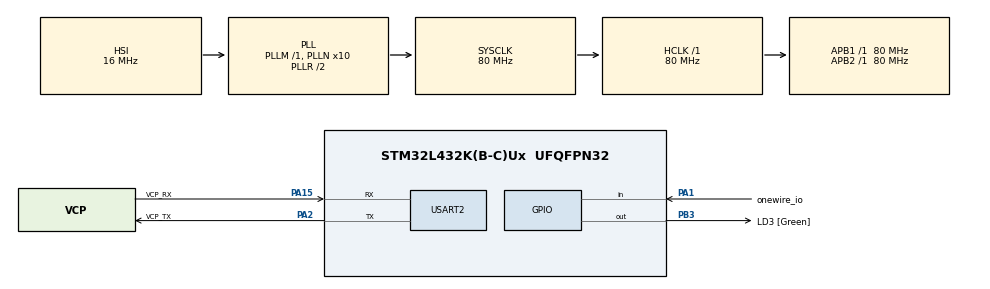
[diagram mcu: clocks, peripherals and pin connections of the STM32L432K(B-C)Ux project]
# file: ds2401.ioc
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Mcu.Family=STM32L4
RCC.MSI_VALUE=4000000
RCC.PLLSourceVirtual=RCC_PLLSOURCE_HSI
PA14\ (JTCK-SWCLK).Mode=Serial_Wire
FREERTOS.Queues01=myQueue01,16,uint16_t,0,Dynamic,NULL,NULL;myQueue02,16,uint32_t,0,Dynamic,NULL,NULL
RCC.CortexFreq_Value=80000000
FREERTOS.Tasks01=defaultTask,24,128,StartDefaultTask,Default,NULL,Dynamic,NULL,NULL;myTask02,8,128,StartTask02,Default,NULL,Dynamic,NULL,NULL;myTask03,8,128,StartTask03,Default,NULL,Dynamic,NULL,NULL;myTask04,8,128,StartTask04,Default,NULL,Dynamic,NULL,NULL
PA0.GPIO_Label=MCO [High speed clock in]
VP_TIM6_VS_ClockSourceINT.Mode=Enable_Timer
PC15-OSC32_OUT\ (PC15).Signal=RCC_OSC32_OUT
PA15\ (JTDI).Signal=USART2_RX
PB3\ (JTDO-TRACESWO).GPIO_Label=LD3 [Green]
PA14\ (JTCK-SWCLK).GPIO_Label=SWCLK
PC15-OSC32_OUT\ (PC15).Mode=LSE-External-Oscillator
RCC.SYSCLKSource=RCC_SYSCLKSOURCE_PLLCLK
ProjectManager.StackSize=0x400
PB3\ (JTDO-TRACESWO).Signal=GPIO_Output
PC14-OSC32_IN\ (PC14).Mode=LSE-External-Oscillator
VP_FREERTOS_VS_CMSIS_V2.Mode=CMSIS_V2
PA14\ (JTCK-SWCLK).Signal=SYS_JTCK-SWCLK
RCC.HSI16_VALUE=16000000
PA15\ (JTDI).Mode=Asynchronous
ProjectManager.TargetToolchain=STM32CubeIDE
RCC.HCLKFreq_Value=80000000
RCC.APB2TimFreq_Value=80000000
RCC.USBFreq_Value=64000000
PA1.Signal=GPIO_Input
RCC.AHBFreq_Value=80000000
RCC.HSE_VALUE=8000000
board=NUCLEO-L432KC
USART2.VirtualMode-Asynchronous=VM_ASYNC
RCC.VCOOutputFreq_Value=160000000
RCC.PLLMUL=RCC_PLLMUL_4
RCC.APB2Freq_Value=80000000
PA13\ (JTMS-SWDIO).GPIO_Label=SWDIO
VP_SYS_VS_tim1.Mode=TIM1
RCC.ADCFreq_Value=64000000
PA0.Mode=HSE-External-Clock-Source-for-LittleOrca
PA1.GPIO_Label=onewire_io
PA15\ (JTDI).GPIO_Label=VCP_RX
Mcu.Name=STM32L432K(B-C)Ux
PA2.Signal=USART2_TX
PA0.Signal=RCC_CK_IN
PA13\ (JTMS-SWDIO).Mode=Serial_Wire
RCC.SYSCLKFreq_VALUE=80000000
Mcu.Package=UFQFPN32
NVIC.TimeBase=TIM1_UP_TIM16_IRQn
PC14-OSC32_IN\ (PC14).Signal=RCC_OSC32_IN
PA2.GPIO_Label=VCP_TX
NVIC.TimeBaseIP=TIM1
ProjectManager.HeapSize=0x200
RCC.HSI_VALUE=16000000
NVIC.TIM1_UP_TIM16_IRQn=true\:0\:0\:false\:false\:true\:false\:false\:true
NVIC.PriorityGroup=NVIC_PRIORITYGROUP_4
RCC.PLLN=10
RCC.APB1TimFreq_Value=80000000
PA2.Mode=Asynchronous
PA13\ (JTMS-SWDIO).Signal=SYS_JTMS-SWDIO
RCC.APB1Freq_Value=80000000
RCC.HSI48_VALUE=48000000

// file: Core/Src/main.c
/* USER CODE BEGIN Header */
/**
  ******************************************************************************
  * @file           : main.c
  * @brief          : Main program body
  ******************************************************************************
  * @attention
  *
  * <h2><center>&copy; Copyright (c) 2021 STMicroelectronics.
  * All rights reserved.</center></h2>
  *
  * This software component is licensed by ST under BSD 3-Clause license,
  * the "License"; You may not use this file except in compliance with the
  * License. You may obtain a copy of the License at:
  *                        opensource.org/licenses/BSD-3-Clause
  *
  ******************************************************************************
  */
/* USER CODE END Header */
#include "main.h"
#include "cmsis_os.h"
#include "tim.h"
#include "usart.h"
#include "gpio.h"

void SystemClock_Config(void);
void MX_FREERTOS_Init(void);

int main(void) {

    /* MCU Configuration--------------------------------------------------------*/

    /* Reset of all peripherals, Initializes the Flash interface and the Systick. */
    HAL_Init();

    /* Configure the system clock */
    SystemClock_Config();

    /* Initialize all configured peripherals */
    MX_GPIO_Init();
    MX_USART2_UART_Init();
    MX_TIM6_Init();
    /* USER CODE BEGIN 2 */

    /*
    void DWT_Delay_us(volatile uint32_t microseconds);
    while(1) {
    	//DWT_Delay_us(500000); 	// 500ms
    	DWT_Delay_us(1000000); 		// 1000ms
    	HAL_GPIO_TogglePin(LD3_GPIO_Port, LD3_Pin);
    }
    */

    /* USER CODE END 2 */

    /* Init scheduler */
    osKernelInitialize();  /* Call init function for freertos objects (in freertos.c) */
    MX_FREERTOS_Init();
    /* Start scheduler */
    osKernelStart();

    /* We should never get here as control is now taken by the scheduler */
    /* Infinite loop */
    while (1) {

    }
}

void SystemClock_Config(void) {
    RCC_OscInitTypeDef RCC_OscInitStruct = {0};
    RCC_ClkInitTypeDef RCC_ClkInitStruct = {0};
    RCC_PeriphCLKInitTypeDef PeriphClkInit = {0};

    /** Initializes the RCC Oscillators according to the specified parameters
    * in the RCC_OscInitTypeDef structure.
    */
    RCC_OscInitStruct.OscillatorType = RCC_OSCILLATORTYPE_HSI;
    RCC_OscInitStruct.HSIState = RCC_HSI_ON;
    RCC_OscInitStruct.HSICalibrationValue = RCC_HSICALIBRATION_DEFAULT;
    RCC_OscInitStruct.PLL.PLLState = RCC_PLL_ON;
    RCC_OscInitStruct.PLL.PLLSource = RCC_PLLSOURCE_HSI;
    RCC_OscInitStruct.PLL.PLLM = 1;
    RCC_OscInitStruct.PLL.PLLN = 10;
    RCC_OscInitStruct.PLL.PLLP = RCC_PLLP_DIV7;
    RCC_OscInitStruct.PLL.PLLQ = RCC_PLLQ_DIV2;
    RCC_OscInitStruct.PLL.PLLR = RCC_PLLR_DIV2;
    if (HAL_RCC_OscConfig(&RCC_OscInitStruct) != HAL_OK) {
        Error_Handler();
    }
    /** Initializes the CPU, AHB and APB buses clocks
    */
    RCC_ClkInitStruct.ClockType = RCC_CLOCKTYPE_HCLK | RCC_CLOCKTYPE_SYSCLK
                                  | RCC_CLOCKTYPE_PCLK1 | RCC_CLOCKTYPE_PCLK2;
    RCC_ClkInitStruct.SYSCLKSource = RCC_SYSCLKSOURCE_PLLCLK;
    RCC_ClkInitStruct.AHBCLKDivider = RCC_SYSCLK_DIV1;
    RCC_ClkInitStruct.APB1CLKDivider = RCC_HCLK_DIV1;
    RCC_ClkInitStruct.APB2CLKDivider = RCC_HCLK_DIV1;

    if (HAL_RCC_ClockConfig(&RCC_ClkInitStruct, FLASH_LATENCY_4) != HAL_OK) {
        Error_Handler();
    }
    PeriphClkInit.PeriphClockSelection = RCC_PERIPHCLK_USART2;
    PeriphClkInit.Usart2ClockSelection = RCC_USART2CLKSOURCE_PCLK1;
    if (HAL_RCCEx_PeriphCLKConfig(&PeriphClkInit) != HAL_OK) {
        Error_Handler();
    }
    /** Configure the main internal regulator output voltage
    */
    if (HAL_PWREx_ControlVoltageScaling(PWR_REGULATOR_VOLTAGE_SCALE1) != HAL_OK) {
        Error_Handler();
    }
}

void HAL_TIM_PeriodElapsedCallback(TIM_HandleTypeDef *htim) {
    if (htim->Instance == TIM1) {
        HAL_IncTick();
    }
}

void Error_Handler(void) {
    __disable_irq();
    while (1) {
    }
}

/************************ (C) COPYRIGHT STMicroelectronics *****END OF FILE****/

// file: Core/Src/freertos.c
/* USER CODE BEGIN Header */
/**
  ******************************************************************************
  * File Name          : freertos.c
  * Description        : Code for freertos applications
  ******************************************************************************
  * @attention
  *
  * <h2><center>&copy; Copyright (c) 2021 STMicroelectronics.
  * All rights reserved.</center></h2>
  *
  * This software component is licensed by ST under Ultimate Liberty license
  * SLA0044, the "License"; You may not use this file except in compliance with
  * the License. You may obtain a copy of the License at:
  *                             www.st.com/SLA0044
  *
  ******************************************************************************
  */
/* USER CODE END Header */

#include "FreeRTOS.h"
#include "task.h"
#include "main.h"
#include "cmsis_os.h"

/* USER CODE BEGIN Includes */
#include <stdio.h>
#include <stdlib.h>
#include <string.h>
#include "usart.h"
/* USER CODE END Includes */

/* USER CODE BEGIN PD */
struct hardSerial_t {
    uint8_t Number[8];
};
uint64_t data = 0;
/* USER CODE END PD */

/* USER CODE BEGIN PM */
#define DS2401_SUCCESS          0
#define DS2401_WRONG_CRC        1
#define DS2401_NO_RESPONSE      2

#define ARR_SIZE(arr) 			(sizeof(arr)/sizeof(arr[0]))
/* USER CODE END PM */

/* USER CODE BEGIN Variables */
struct hardSerial_t HardSerial;
/* USER CODE END Variables */
/* Definitions for defaultTask */
osThreadId_t defaultTaskHandle;
const osThreadAttr_t defaultTask_attributes = {
    .name = "defaultTask",
    .stack_size = 128 * 4,
    .priority = (osPriority_t) osPriorityNormal,
};
/* Definitions for myTask02 */
osThreadId_t myTask02Handle;
const osThreadAttr_t myTask02_attributes = {
    .name = "myTask02",
    .stack_size = 128 * 4,
    .priority = (osPriority_t) osPriorityLow,
};
/* Definitions for myTask03 */
osThreadId_t myTask03Handle;
const osThreadAttr_t myTask03_attributes = {
    .name = "myTask03",
    .stack_size = 128 * 4,
    .priority = (osPriority_t) osPriorityLow,
};
/* Definitions for myTask04 */
osThreadId_t myTask04Handle;
const osThreadAttr_t myTask04_attributes = {
    .name = "myTask04",
    .stack_size = 128 * 4,
    .priority = (osPriority_t) osPriorityLow,
};
/* Definitions for myQueue01 */
osMessageQueueId_t myQueue01Handle;
const osMessageQueueAttr_t myQueue01_attributes = {
    .name = "myQueue01"
};
/* Definitions for myQueue02 */
osMessageQueueId_t myQueue02Handle;
const osMessageQueueAttr_t myQueue02_attributes = {
    .name = "myQueue02"
};

/* USER CODE BEGIN FunctionPrototypes */
inline static uint8_t onewire_in(void);
inline static void onewire_out(uint8_t);
inline static void onewire_dir_in(void);
inline static void onewire_dir_out(void);

static void shiftToLeft(uint8_t * Ptr_u8, uint8_t Size_u8, int8_t Bitval_u1);
static void shiftToRight(uint8_t * Ptr_u8, uint8_t Size_u8, int8_t Bitval_u1);
uint32_t DWT_Delay_Init(void);
void DWT_Delay_us(volatile uint32_t microseconds);
void TIM6_delay_us(uint16_t us);
/* USER CODE END FunctionPrototypes */

void StartDefaultTask(void *argument);
void StartTask02(void *argument);
void StartTask03(void *argument);
void StartTask04(void *argument);

void MX_FREERTOS_Init(void); /* (MISRA C 2004 rule 8.1) */

void MX_FREERTOS_Init(void) {

    /* Create the queue(s) */
    /* creation of myQueue01 */
    myQueue01Handle = osMessageQueueNew (16, sizeof(uint16_t), &myQueue01_attributes);

    /* creation of myQueue02 */
    myQueue02Handle = osMessageQueueNew (16, sizeof(uint32_t), &myQueue02_attributes);

    /* Create the thread(s) */
    /* creation of defaultTask */
    defaultTaskHandle = osThreadNew(StartDefaultTask, NULL, &defaultTask_attributes);

    /* creation of myTask02 */
    myTask02Handle = osThreadNew(StartTask02, NULL, &myTask02_attributes);

    /* creation of myTask03 */
    myTask03Handle = osThreadNew(StartTask03, NULL, &myTask03_attributes);

    /* creation of myTask04 */
    myTask04Handle = osThreadNew(StartTask04, NULL, &myTask04_attributes);

}

void StartDefaultTask(void *argument) {
    for(;;) {
        osDelay(1);
    }
}

void StartTask02(void *argument) {
    /* USER CODE BEGIN StartTask02 */
    /* Infinite loop */

    // stm32l432kc => FLASH 256K => 128 pages
    // hex(0x0800_0000 + 2*2**10*100) => 0x8032000
    /*
     0x8000000,0x8000800,0x8001000,0x8001800,0x8002000,0x8002800,0x8003000,0x8003800,
     0x8004000,0x8004800,0x8005000,0x8005800,0x8006000,0x8006800,0x8007000,0x8007800,
     0x8008000,0x8008800,0x8009000,0x8009800,0x800a000,0x800a800,0x800b000,0x800b800,
     0x800c000,0x800c800,0x800d000,0x800d800,0x800e000,0x800e800,0x800f000,0x800f800,
     0x8010000,0x8010800,0x8011000,0x8011800,0x8012000,0x8012800,0x8013000,0x8013800,
     0x8014000,0x8014800,0x8015000,0x8015800,0x8016000,0x8016800,0x8017000,0x8017800,
     0x8018000,0x8018800,0x8019000,0x8019800,0x801a000,0x801a800,0x801b000,0x801b800,
     0x801c000,0x801c800,0x801d000,0x801d800,0x801e000,0x801e800,0x801f000,0x801f800,
     0x8020000,0x8020800,0x8021000,0x8021800,0x8022000,0x8022800,0x8023000,0x8023800,
     0x8024000,0x8024800,0x8025000,0x8025800,0x8026000,0x8026800,0x8027000,0x8027800,
     0x8028000,0x8028800,0x8029000,0x8029800,0x802a000,0x802a800,0x802b000,0x802b800,
     0x802c000,0x802c800,0x802d000,0x802d800,0x802e000,0x802e800,0x802f000,0x802f800,
     0x8030000,0x8030800,0x8031000,0x8031800,0x8032000,0x8032800,0x8033000,0x8033800,
     0x8034000,0x8034800,0x8035000,0x8035800,0x8036000,0x8036800,0x8037000,0x8037800,
     0x8038000,0x8038800,0x8039000,0x8039800,0x803a000,0x803a800,0x803b000,0x803b800,
     0x803c000,0x803c800,0x803d000,0x803d800,0x803e000,0x803e800,0x803f000,0x803f800 -> 0x8040000
     */

    typedef enum PAGE_ERASE_STATUS {
        eNOT_CLEANED,
        eERASE_SUCCESS,
        eERASE_FAILURE,
    } PAGE_ERASE_STATUS_t;

    PAGE_ERASE_STATUS_t page_status = eNOT_CLEANED;

    uint8_t written = 0;
    uint32_t data1 = 0;
    uint32_t data2 = 0;
    //uint32_t * ptr = (uint32_t *)0x8032000; 	// hex(0x0800_0000 + 2*2**10*100) => 0x8032000
    //uint32_t * ptr = (uint32_t *)0x8032000 + 8; 	// hex(0x0800_0000 + 2*2**10*100) => 0x8032000
    //uint32_t * ptr = (uint32_t *)0x8032000 + 16; 	// hex(0x0800_0000 + 2*2**10*100) => 0x8032000
    uint32_t * ptr = (uint32_t *)0x8032000 + 4; 	// hex(0x0800_0000 + 2*2**10*100) => 0x8032000
    // ptr 4 byte aligned, 2 32-bits values per write

    data = data1;
    data <<= 32;
    data |= data2;

    for(;;) {

        osDelay(1000);

        if(page_status == eNOT_CLEANED) {
            if((FLASH->SR & FLASH_SR_BSY_Msk) == 0) {
                // clear FLASH page

                // unlock FLASH
                if(FLASH->CR & FLASH_CR_LOCK_Msk) {
                    FLASH->KEYR = ((uint32_t)0x45670123);	// hard fault when wrong sequence
                    FLASH->KEYR = ((uint32_t)0xCDEF89AB);	// e.g. comment out first or second key
                }

                // wait until done
                while(FLASH->SR & FLASH_SR_BSY_Msk) {
                    // wait for busy to be cleared
                }

                // clear FLASH errors
                FLASH->SR |= FLASH_SR_OPTVERR_Msk; 	// FLASH option not valid. Cleared by writing 1.
                FLASH->SR |= FLASH_SR_RDERR_Msk; 	// FLASH reading from protected address. Cleared by writing 1.
                FLASH->SR |= FLASH_SR_FASTERR_Msk; 	// FLASH fast programming interrupted. Cleared by writing 1.
                FLASH->SR |= FLASH_SR_MISERR_Msk; 	// FLASH fast programming data missing. Cleared by wiring 1.
                FLASH->SR |= FLASH_SR_PGSERR_Msk; 	// FLASH programming sequence error. Cleared by writing 1.
                FLASH->SR |= FLASH_SR_SIZERR_Msk; 	// FLASH not word size access. Cleared by writing 1.
                FLASH->SR |= FLASH_SR_PGAERR_Msk;	// FLASH write align error not 64bit row. Cleared by writing 1.
                FLASH->SR |= FLASH_SR_WRPERR_Msk; 	// FLASH not writable at address. Cleared by writing 1.
                FLASH->SR |= FLASH_SR_PROGERR_Msk; 	// FLASH not 0xFF before write, except 0x00. Cleared by writing 1.
                FLASH->SR |= FLASH_SR_OPERR_Msk; 	// FLASH program or erase operation fails. Cleared by wiring 1.

                // wait until done
                while(FLASH->SR & FLASH_SR_BSY_Msk) {
                    // wait for busy to be cleared
                }

                // select page to erase and start
                FLASH->CR |= FLASH_CR_PER_Msk; 			// set FLASH erase permit
                FLASH->CR |= (FLASH_CR_PNB_Msk & (100 << FLASH_CR_PNB_Pos)); 	// select FLASH page number to erase
                FLASH->CR |= FLASH_CR_STRT_Msk; 		// start erase

                // wait until done
                while(FLASH->SR & FLASH_SR_BSY_Msk) {
                    // wait for busy to be cleared
                }

                // check if erase successful
                if(FLASH->SR & FLASH_SR_PGSERR_Msk) {
                    page_status = eERASE_FAILURE;
                } else {
                    page_status = eERASE_SUCCESS;
                }
            }
        } else if (((FLASH->SR & FLASH_SR_BSY_Msk) == 0) && (page_status == eERASE_SUCCESS) && (written == 0)) {

            // unlock FLASH
            if(FLASH->CR & FLASH_CR_LOCK_Msk) {
                FLASH->KEYR = ((uint32_t)0x45670123);	// hard fault when wrong sequence
                FLASH->KEYR = ((uint32_t)0xCDEF89AB);	// e.g. comment out first or second key
            }

            // wait until done
            while(FLASH->SR & FLASH_SR_BSY_Msk) {
                // wait for busy to be cleared
            }

            // clear FLASH errors
            FLASH->SR |= FLASH_SR_OPTVERR_Msk; 	// FLASH option not valid. Cleared by writing 1.
            FLASH->SR |= FLASH_SR_RDERR_Msk; 	// FLASH reading from protected address. Cleared by writing 1.
            FLASH->SR |= FLASH_SR_FASTERR_Msk; 	// FLASH fast programming interrupted. Cleared by writing 1.
            FLASH->SR |= FLASH_SR_MISERR_Msk; 	// FLASH fast programming data missing. Cleared by wiring 1.
            FLASH->SR |= FLASH_SR_PGSERR_Msk; 	// FLASH programming sequence error. Cleared by writing 1.
            FLASH->SR |= FLASH_SR_SIZERR_Msk; 	// FLASH not word size access. Cleared by writing 1.
            FLASH->SR |= FLASH_SR_PGAERR_Msk;	// FLASH write align error not 64bit row. Cleared by writing 1.
            FLASH->SR |= FLASH_SR_WRPERR_Msk; 	// FLASH not writable at address. Cleared by writing 1.
            FLASH->SR |= FLASH_SR_PROGERR_Msk; 	// FLASH not 0xFF before write, except 0x00. Cleared by writing 1.
            FLASH->SR |= FLASH_SR_OPERR_Msk; 	// FLASH program or erase operation fails. Cleared by wiring 1.

            // PER must be cleared when PG is set
            FLASH->CR &= ~FLASH_CR_PER_Msk; 	// clear FLASH erase permit

            // allow FLASH programming
            FLASH->CR |= FLASH_CR_PG_Msk;

            // wait until done
            while(FLASH->SR & FLASH_SR_BSY_Msk) {
                // wait for busy to be cleared
            }

            // write
            FLASH->CR |= FLASH_CR_EOPIE_Msk; 	// allow to set EOP
            FLASH->SR |= FLASH_SR_EOP_Msk; 	// clear by writing 1
            *ptr = 12345;	 			// only possible to program 2x 32-bit data
            *(ptr + 1) = 54321;			// see refman

            // wait until done
            while(FLASH->SR & FLASH_SR_BSY_Msk) {
                // wait for busy to be cleared
            }

            // this bit set only after second written 32-bit value
            if(FLASH->SR & FLASH_SR_EOP_Msk) {
                FLASH->SR |= FLASH_SR_EOP_Msk; 	// clear by writing 1
            }

            // disallow FLASH programming
            FLASH->CR &= ~FLASH_CR_PG_Msk;

            written = 1;

        } else if ((page_status == eERASE_SUCCESS) && (written == 1)) {
            data1 = *ptr; 	// read
            data2 = *(ptr + 1); 	// read
        }
    }
    /* USER CODE END StartTask02 */
}

void StartTask03(void *argument) {
    /* USER CODE BEGIN StartTask03 */
    /* Infinite loop */

    uint16_t cnt = 0;

    for(;;) {
        uint8_t Idx_u8;
        uint8_t CRCtmp_u8;
        uint8_t CRC_u8;
        uint8_t Bitval_u8;
        uint8_t errVal = DS2401_SUCCESS;

        // initialize
        for(Idx_u8 = 0u; Idx_u8 < 8u; Idx_u8++) {
            HardSerial.Number[Idx_u8] = 0u;
        }

        // start
        onewire_out(0);
        onewire_dir_out();
        TIM6_delay_us(600);

        // wait for slave bus response
        onewire_dir_in();
        TIM6_delay_us(60);
        if(onewire_in() == 1u) {
            // sample slave bus response
            errVal = DS2401_NO_RESPONSE;
            for(Idx_u8 = 0u; Idx_u8 < 8u; Idx_u8++) {
                HardSerial.Number[Idx_u8] = 0u;
            }
        } else {
            TIM6_delay_us(240);

            // read command 0x33
            // 1
            onewire_out(0);
            onewire_dir_out();
            TIM6_delay_us(2);
            onewire_out(1);
            TIM6_delay_us(115);
            // 1
            onewire_out(0);
            TIM6_delay_us(2);
            onewire_out(1);
            TIM6_delay_us(115);
            // 0
            onewire_out(0);
            TIM6_delay_us(110);
            onewire_out(1);
            TIM6_delay_us(2);
            // 0
            onewire_out(0);
            TIM6_delay_us(110);
            onewire_out(1);
            TIM6_delay_us(2);
            // 1
            onewire_out(0);
            TIM6_delay_us(2);
            onewire_out(1);
            TIM6_delay_us(115);
            // 1
            onewire_out(0);
            TIM6_delay_us(2);
            onewire_out(1);
            TIM6_delay_us(115);
            // 0
            onewire_out(0);
            TIM6_delay_us(110);
            onewire_out(1);
            TIM6_delay_us(2);
            // 0
            onewire_out(0);
            TIM6_delay_us(110);
            onewire_out(1);
            TIM6_delay_us(2);

            CRC_u8 = 0u;

            for(Idx_u8 = 0u; Idx_u8 < 64u; Idx_u8++) {
                onewire_out(0);     // acknowledge each bit
                onewire_dir_out();     // acknowledge each bit
                onewire_dir_in();
                TIM6_delay_us(5);

                Bitval_u8 = (onewire_in() == 1u) ? 1u : 0u;
                shiftToLeft(&(HardSerial.Number[0]), 8u, Bitval_u8);
                CRCtmp_u8 = CRC_u8 & 0x01u;
                CRCtmp_u8 ^= Bitval_u8;
                shiftToRight(&CRC_u8, 1u, CRCtmp_u8);
                if(CRCtmp_u8) {
                    CRC_u8 = CRC_u8 ^ 0x0Cu;
                }

                TIM6_delay_us(60);
            }

            onewire_dir_in();

            if(CRC_u8 != 0u) {
                errVal = DS2401_WRONG_CRC;
                for(Idx_u8 = 0u; Idx_u8 < 8u; Idx_u8++) {
                    HardSerial.Number[Idx_u8] = 0u;
                }
            }
        }

        char msg[64] = {0};
        cnt += 1;
        switch(errVal) {
        case DS2401_SUCCESS: {
            uint8_t n0 = HardSerial.Number[0];
            uint8_t n1 = HardSerial.Number[1];
            uint8_t n2 = HardSerial.Number[2];
            uint8_t n3 = HardSerial.Number[3];
            uint8_t n4 = HardSerial.Number[4];
            uint8_t n5 = HardSerial.Number[5];
            uint8_t n6 = HardSerial.Number[6];
            uint8_t n7 = HardSerial.Number[7];
            uint8_t len = snprintf(&msg[0], ARR_SIZE(msg), "[%4d] id = %02X,%02X,%02X,%02X,%02X,%02X,%02X,%02X\n", cnt, n0, n1, n2, n3, n4, n5, n6, n7);
            HAL_UART_Transmit(&huart2, (uint8_t *)&msg[0], len, 100);
        }
        break;

        case DS2401_NO_RESPONSE: {
            uint8_t len = snprintf(&msg[0], ARR_SIZE(msg), "[%4d] failed response\n", cnt);
            HAL_UART_Transmit(&huart2, (uint8_t *)&msg[0], len, 100);
        }
        break;

        case DS2401_WRONG_CRC: {
            uint8_t len = snprintf(&msg[0], ARR_SIZE(msg), "[%4d] failed crc\n", cnt);
            HAL_UART_Transmit(&huart2, (uint8_t *)&msg[0], len, 100);
        }
        break;

        default: {
            uint8_t len = snprintf(&msg[0], ARR_SIZE(msg), "[%4d] failed default\n", cnt);
            HAL_UART_Transmit(&huart2, (uint8_t *)&msg[0], len, 100);
        }
        break;
        }

        osDelay(500);
    }
    /* USER CODE END StartTask03 */
}

void StartTask04(void *argument) {
    /* USER CODE BEGIN StartTask04 */
    /* Infinite loop */
    for(;;) {

        osDelay(1000);

        /*
        osDelay(1);
        for(uint16_t i=0; i<20; i++) {
        	TIM6_delay_us(50000);
        }
        */

        HAL_GPIO_TogglePin(LD3_GPIO_Port, LD3_Pin);

    }
    /* USER CODE END StartTask04 */
}

/* USER CODE BEGIN Application */
inline static void onewire_dir_out(void) {
    GPIOA->MODER |= 0x04; 	// PA1 output
    GPIOA->OTYPER |= 0x02;	// PA1 open drain
    GPIOA->OSPEEDR |= 0x0C; 	// PA1 very high speed
    /*
    GPIO_InitTypeDef GPIO_InitStruct = {0};
    GPIO_InitStruct.Pin = onewire_io_Pin;
    GPIO_InitStruct.Mode = GPIO_MODE_OUTPUT_PP;
    //GPIO_InitStruct.Mode = GPIO_MODE_OUTPUT_OD;
    GPIO_InitStruct.Speed = GPIO_SPEED_FREQ_VERY_HIGH;
    HAL_GPIO_Init(onewire_io_GPIO_Port, &GPIO_InitStruct);
    */
}

inline static void onewire_dir_in(void) {
    GPIOA->MODER &= ~(0x0C);	// PA1 input
    /*
    GPIO_InitTypeDef GPIO_InitStruct = {0};
    GPIO_InitStruct.Pin = onewire_io_Pin;
    GPIO_InitStruct.Mode = GPIO_MODE_INPUT;
    GPIO_InitStruct.Pull = GPIO_NOPULL;
    HAL_GPIO_Init(onewire_io_GPIO_Port, &GPIO_InitStruct);
    */
}

inline static void onewire_out(uint8_t bit) {

    if(bit) {
        GPIOA->ODR |= 0x02;
    } else {
        GPIOA->ODR &= ~0x02;
    }

    /*
    if(bit == 0) {
        HAL_GPIO_WritePin(onewire_io_GPIO_Port, onewire_io_Pin, GPIO_PIN_RESET);
    } else {
        HAL_GPIO_WritePin(onewire_io_GPIO_Port, onewire_io_Pin, GPIO_PIN_SET);
    }
    */
}

inline static uint8_t onewire_in(void) {

    return (GPIOA->IDR & 0x02) == 0x02;

    /*
    if(HAL_GPIO_ReadPin(onewire_io_GPIO_Port, onewire_io_Pin) == GPIO_PIN_RESET) {
        return 0;
    } else {
        return 1;
    }
    */
}

/****************************************************************************************/
/**
    @name     shiftToLeft
    @brief    shift bits to the left, Bitval_u1 will be shifted in on the right side
              Ptr_u8[0] = most right byte
              Ptr_u8[n-1] = most left byte

    @return   void

    @param    [in,out] Ptr_u8 = pointer to array
    @param    [in] Size_u8 = array size, range 0..255
    @param    [in] Bitval_u1 = bit value to shift in
*****************************************************************************************/
static void shiftToLeft(uint8_t * Ptr_u8, uint8_t Size_u8, int8_t Bitval_u1) {
    /* [msb(n-1)...lsb(n-1)] .. [msb1...lsb1] << [msb0..lsb0] << bitval */
    /* Ptr_u8[n-1] .. Ptr_u8[1] << Ptr_u8[0] << Bitval_u1 */
    uint8_t Idx_u8;
    uint8_t Tmp_u8;
    int8_t Shiftin_u1;
    int8_t Shiftout_u1;
    Shiftin_u1 = Bitval_u1 & 0x01u;
    for(Idx_u8 = 0u; Idx_u8 < Size_u8; Idx_u8++) {
        Tmp_u8 = Ptr_u8[Idx_u8];
        Shiftout_u1 = ((Tmp_u8 & 0x80u) == 0x80u) ? 1u : 0u;
        Tmp_u8 <<= 1;
        Tmp_u8 |= Shiftin_u1;
        Ptr_u8[Idx_u8] = Tmp_u8;
        Shiftin_u1 = Shiftout_u1;
    }
}

/****************************************************************************************/
/**
    @name     shiftToRight
    @brief    shift bits to the right, Bitval_u1 will be shifted in on the left side
              Ptr_u8[0] = most right byte
              Ptr_u8[n-1] = most left byte

    @return   void

    @param    [in,out] Ptr_u8 = pointer to array
    @param    [in] Size_u8 = array size, range 0..255
    @param    [in] Bitval_u1 = bit value to shift in
*****************************************************************************************/
static void shiftToRight(uint8_t * Ptr_u8, uint8_t Size_u8, int8_t Bitval_u1) {
    /* bitval >> [msb(n-1)...lsb(n-1)] .. [msb1...lsb1] >> [msb0..lsb0] */
    /* bitval >> ptr[n-1] .. ptr[1] >> ptr[0] */
    uint8_t Tmp_u8;
    int8_t Shiftin_u1;
    int8_t Shiftout_u1;
    Shiftin_u1 = Bitval_u1 & 0x01u;
    while(Size_u8) {
        Tmp_u8 = Ptr_u8[Size_u8 - 1u];
        Shiftout_u1 = ((Tmp_u8 & 1u) == 1u) ? 1u : 0u;
        Tmp_u8 >>= 1;
        if(Shiftin_u1 == 0x01u) {
            Tmp_u8 |= 0x80u;
        }
        Ptr_u8[Size_u8 - 1u] = Tmp_u8;
        Shiftin_u1 = Shiftout_u1;
        Size_u8 -= 1u;
    }
}

//#include "dwt_stm32_delay.h"

/**
 * @brief  Initializes DWT_Clock_Cycle_Count for DWT_Delay_us function
 * @return Error DWT counter
 *         1: clock cycle counter not started
 *         0: clock cycle counter works
 */
uint32_t DWT_Delay_Init(void) {
    /* Disable TRC */
    CoreDebug->DEMCR &= ~CoreDebug_DEMCR_TRCENA_Msk; // ~0x01000000;
    /* Enable TRC */
    CoreDebug->DEMCR |=  CoreDebug_DEMCR_TRCENA_Msk; // 0x01000000;

    /* Disable clock cycle counter */
    DWT->CTRL &= ~DWT_CTRL_CYCCNTENA_Msk; //~0x00000001;
    /* Enable  clock cycle counter */
    DWT->CTRL |=  DWT_CTRL_CYCCNTENA_Msk; //0x00000001;

    /* Reset the clock cycle counter value */
    DWT->CYCCNT = 0;

    /* 3 NO OPERATION instructions */
    __ASM volatile ("NOP");
    __ASM volatile ("NOP");
    __ASM volatile ("NOP");

    /* Check if clock cycle counter has started */
    if(DWT->CYCCNT) {
        return 0; /*clock cycle counter started*/
    } else {
        return 1; /*clock cycle counter not started*/
    }
}

void DWT_Delay_us(volatile uint32_t microseconds) {
    uint32_t clk_cycle_start = DWT->CYCCNT;

    /* Go to number of cycles for system */
    microseconds *= (HAL_RCC_GetHCLKFreq() / 1000000);

    /* Delay till end */
    while ((DWT->CYCCNT - clk_cycle_start) < microseconds);
}

void TIM6_delay_us(uint16_t us) {
    RCC->APB1ENR1 |= RCC_APB1ENR1_TIM6EN;
    TIM6->CR1 = 0;      // stop tim6
    TIM6->EGR = 1;      // event generation register
    //TIM6->ARR = 10000;  // 16 bits auto reload register
    TIM6->PSC = 81;   	// 16bits prescaler
    TIM6->CNT = 0xFFFF - us;     // 16bits counter value
    //TIM6->DIER = 1;     // DMA interrupt enable register
    //TIM6->CR2 = 0;      // control register 2 with master mode selection
    TIM6->SR = 0;       // clear interrupt flag
    TIM6->CR1 = TIM_CR1_CEN | TIM_CR1_OPM;     // start timer
    //TIM6->CR1 = TIM_CR1_URS | TIM_CR1_ARPE | TIM_CR1_CEN;     // start timer

    while((TIM6->SR & TIM_SR_UIF_Msk) == 0) {
    }
}

/* USER CODE END Application */

/************************ (C) COPYRIGHT STMicroelectronics *****END OF FILE****/
